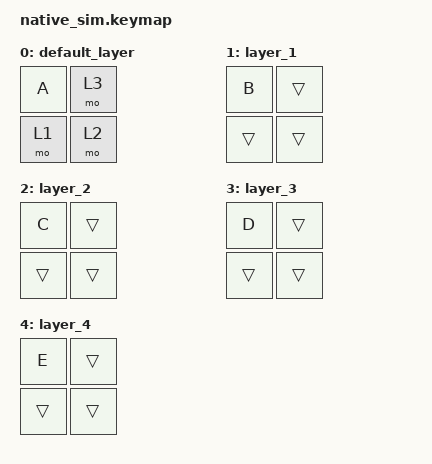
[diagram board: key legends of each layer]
#include <behaviors.dtsi>
#include <dt-bindings/zmk/keys.h>
#include <dt-bindings/zmk/input_mock.h>

/ {
    conditional_layers {
        compatible = "zmk,conditional-layers";
        conditional_layer_1 {
            if-layers = <1 2>;
            then-layer = <4>;
        };
        conditional_layer_2 {
            if-layers = <1 3>;
            then-layer = <4>;
        };
    };

    keymap {
        compatible = "zmk,keymap";
        default_layer {
            bindings = <
                &kp A &mo 3
                &mo 1 &mo 2
            >;
        };
        layer_1 {
            bindings = <
                &kp B &trans
                &trans &trans
            >;
        };
        layer_2 {
            bindings = <
                &kp C &trans
                &trans &trans
            >;
        };
        layer_3 {
            bindings = <
                &kp D &trans
                &trans &trans
            >;
        };
        layer_4 {
            bindings = <
                &kp E &trans
                &trans &trans
            >;
        };
    };
};

&mock_input {
    events = <
        ZMK_INPUT_MOCK_PRESS(1,0,10)
        ZMK_INPUT_MOCK_PRESS(1,1,10)
        ZMK_INPUT_MOCK_PRESS(0,1,10)
        ZMK_INPUT_MOCK_PRESS(0,0,10)
        ZMK_INPUT_MOCK_RELEASE(0,0,10)
        ZMK_INPUT_MOCK_RELEASE(0,1,10)
        ZMK_INPUT_MOCK_RELEASE(1,1,10)
        ZMK_INPUT_MOCK_RELEASE(1,0,10)

        ZMK_INPUT_MOCK_PRESS(0,1,10)
        ZMK_INPUT_MOCK_PRESS(1,0,10)
        ZMK_INPUT_MOCK_PRESS(1,1,10)
        ZMK_INPUT_MOCK_PRESS(0,0,10)
        ZMK_INPUT_MOCK_RELEASE(0,0,10)
        ZMK_INPUT_MOCK_RELEASE(1,1,10)
        ZMK_INPUT_MOCK_RELEASE(1,0,10)
        ZMK_INPUT_MOCK_RELEASE(0,1,10)
    >;
};
